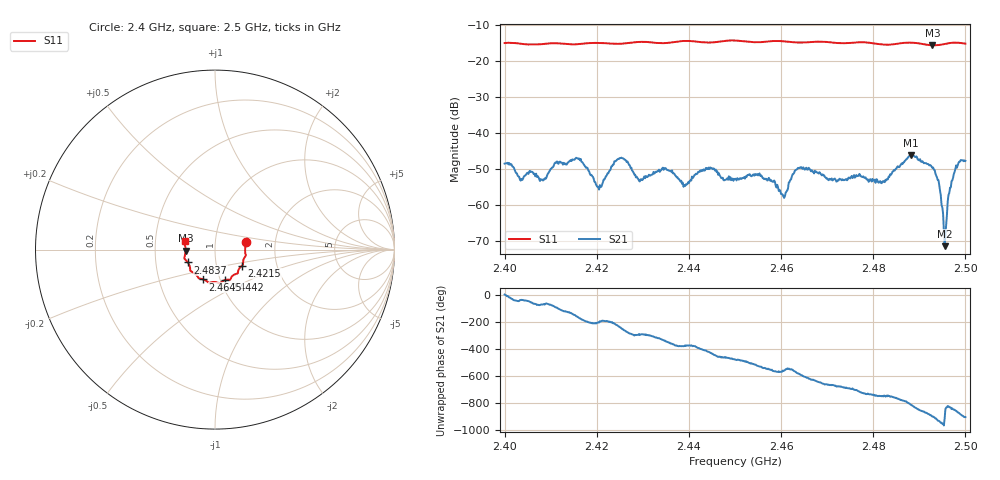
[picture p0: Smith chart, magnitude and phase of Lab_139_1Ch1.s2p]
# Hz S RI R 50
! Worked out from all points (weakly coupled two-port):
!   601 points, 2.4 GHz to 2.5 GHz, reference 50 ohm
!   highest |S21| = -46.19 dB at 2.4882 GHz (marker M1); lowest = -71.5 dB at 2.4955 GHz (marker M2)
!   lowest |S11| = -15.7 dB at 2.4928 GHz (marker M3), VSWR 1.39, Z = 36 - j0.382 ohm
!   |S11| at or under -10 dB: start of sweep to end of sweep
!   S12 and S22 are empty: the file has one direction only
!   S11 on the Smith chart (normalised r, x): 2.4 GHz: 1.41, +0.12; 2.4215 GHz: 1.33, -0.25; 2.4442 GHz: 1.05, -0.37; 2.4645 GHz: 0.83, -0.29; 2.4837 GHz: 0.73, -0.11; 2.5 GHz: 0.71, +0.07
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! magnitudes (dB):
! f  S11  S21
! 2.4 GHz  -15.1  -48.6
! 2.4082 GHz  -15.4  -53.0
! 2.4167 GHz  -15.3  -48.1
! 2.4215 GHz  -15.1  -53.0
! 2.425 GHz  -15.3  -47.0
! 2.4293 GHz  -14.8  -53.5
! 2.4333 GHz  -15.1  -50.6
! 2.4392 GHz  -14.5  -54.8
! 2.4442 GHz  -15.0  -50.1
! 2.45 GHz  -14.4  -52.9
! 2.4552 GHz  -14.9  -51.5
! 2.4605 GHz  -14.6  -57.7
! 2.4645 GHz  -15.0  -49.7
! 2.4667 GHz  -14.8  -50.4
! 2.4833 GHz  -15.6  -52.2
! 2.4837 GHz  -15.5  -51.6
! 2.4882 GHz  -15.0  -46.2
! 2.4928 GHz  -15.7  -49.8
! 2.4942 GHz  -15.7  -53.2
! 2.4955 GHz  -15.4  -71.5
! 2.4975 GHz  -15.0  -51.4
! 2.5 GHz  -15.3  -47.8
